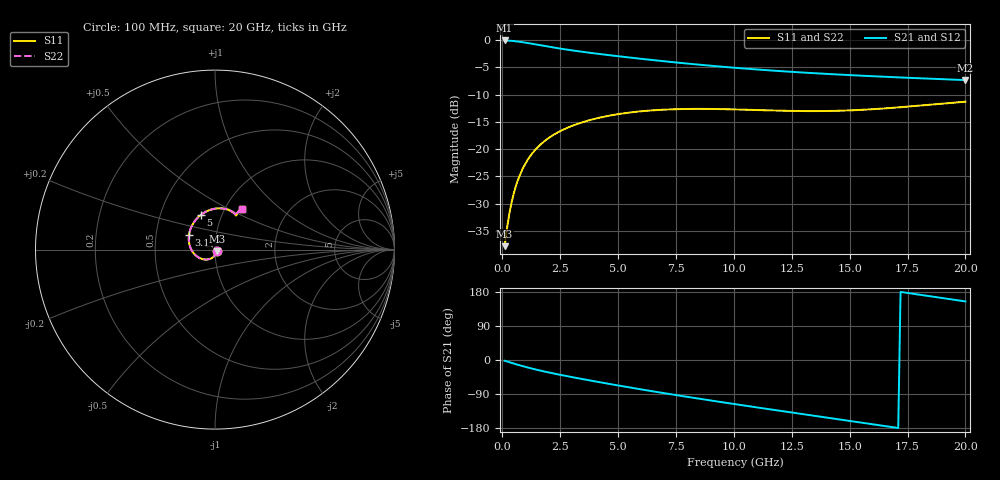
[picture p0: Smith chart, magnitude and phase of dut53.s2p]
! Created with skrf 1.9.0 (http://scikit-rf.org).
# GHz S RI R 50.0
!freq ReS11 ImS11 ReS21 ImS21 ReS12 ImS12 ReS22 ImS22
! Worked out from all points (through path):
!   200 points, 100 MHz to 20 GHz, reference 50 ohm
!   highest |S21| = -0.09 dB at 100 MHz (marker M1); lowest = -7.4 dB at 20 GHz (marker M2)
!   group delay of S21, straight-line fit = 26.9 ps
!   lowest |S11| = -37.8 dB at 100 MHz (marker M3), VSWR 1.03, Z = 51 - j0.885 ohm
!   |S11| at or under -10 dB: start of sweep to end of sweep
!   |S22| runs from -37.8 to -11.3 dB; largest |S21 - S12| = 2.2e-15
!   S11 on the Smith chart (normalised r, x): 100 MHz: 1.02, -0.02; 3.1 GHz: 0.74, +0.12; 5 GHz: 0.80, +0.32; 20 GHz: 1.19, +0.59
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0.1  0.00959 -0.00869  0.9886 -0.0333  0.9886 -0.0333  0.00959 -0.00869
0.2  0.0075 -0.0171  0.9852 -0.0664  0.9852 -0.0664  0.0075 -0.0171
0.3  0.00401 -0.0251  0.9797 -0.0988  0.9797 -0.0988  0.00401 -0.0251
0.4  -0.000821 -0.0325  0.9722 -0.1304  0.9722 -0.1304  -0.000821 -0.0325
0.5  -0.00686 -0.0391  0.963 -0.161  0.963 -0.161  -0.00686 -0.0391
0.7  -0.0219 -0.0492  0.9401 -0.2186  0.9401 -0.2186  -0.0219 -0.0492
1  -0.0487 -0.0554  0.8972 -0.2951  0.8972 -0.2951  -0.0487 -0.0554
1.4  -0.085 -0.0473  0.8314 -0.3782  0.8314 -0.3782  -0.085 -0.0473
1.8  -0.1147 -0.025  0.7629 -0.443  0.7629 -0.443  -0.1147 -0.025
2.4  -0.1407 0.0223  0.6625 -0.5159  0.6625 -0.5159  -0.1407 0.0223
3.1  -0.1448 0.0812  0.5515 -0.5762  0.5515 -0.5762  -0.1448 0.0812
3.5  -0.1375 0.112  0.4905 -0.602  0.4905 -0.602  -0.1375 0.112
5  -0.0778 0.1942  0.2749 -0.654  0.2749 -0.654  -0.0778 0.1942
6.8  0.00646 0.2289  0.0486 -0.6423  0.0486 -0.6423  0.00646 0.2289
8.4  0.0628 0.2252  -0.1157 -0.5849  -0.1157 -0.5849  0.0628 0.2252
10.1  0.0981 0.2091  -0.2518 -0.4944  -0.2518 -0.4944  0.0981 0.2091
11.7  0.1133 0.1955  -0.3465 -0.3924  -0.3465 -0.3924  0.1133 0.1955
13.4  0.1182 0.1892  -0.4147 -0.2736  -0.4147 -0.2736  0.1182 0.1892
15  0.1197 0.1922  -0.4499 -0.1568  -0.4499 -0.1568  0.1197 0.1922
16.7  0.1238 0.2028  -0.457 -0.0328  -0.457 -0.0328  0.1238 0.2028
18.3  0.1332 0.2156  -0.4362 0.0784  -0.4362 0.0784  0.1332 0.2156
20  0.1494 0.2272  -0.3874 0.1841  -0.3874 0.1841  0.1494 0.2272
